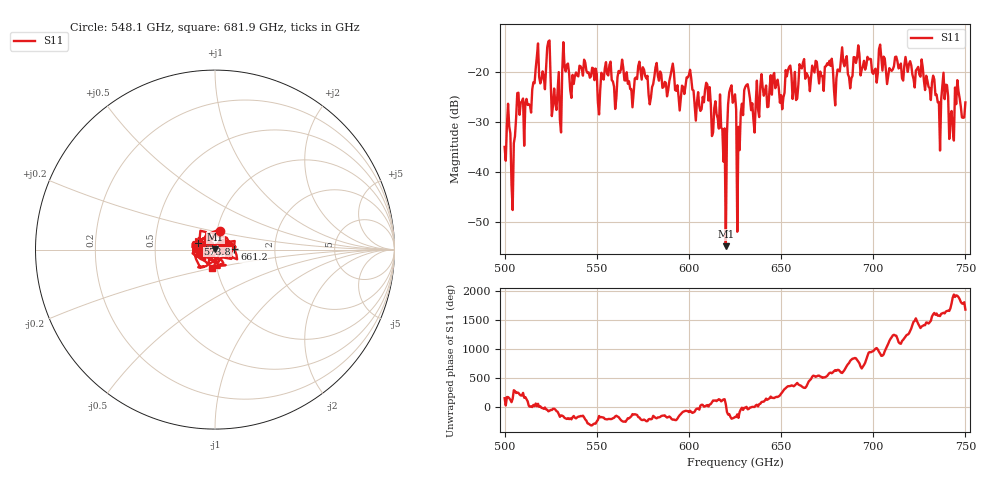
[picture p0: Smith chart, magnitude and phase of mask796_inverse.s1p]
!Created with skrf (http://scikit-rf.org).
# GHz S MA R 50.0
!freq magS11 angS11
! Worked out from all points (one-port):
!   401 points, 500 GHz to 750 GHz, reference 50 ohm
!   lowest |S11| = -54.9 dB at 620 GHz (marker M1), VSWR 1.00, Z = 50.1 + j0.153 ohm
!   |S11| at or under -10 dB: start of sweep to end of sweep
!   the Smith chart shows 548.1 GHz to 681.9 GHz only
!   S11 on the Smith chart (normalised r, x): 548.1 GHz: 1.03, +0.22; 573.8 GHz: 0.82, +0.06; 661.2 GHz: 1.24, +0.01; 681.9 GHz: 0.95, -0.19
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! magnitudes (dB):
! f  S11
! 500 GHz  -35.0
! 504.4 GHz  -47.7
! 507.5 GHz  -24.2
! 511.9 GHz  -25.4
! 516.9 GHz  -19.3
! 526.9 GHz  -23.3
! 531.2 GHz  -20.0
! 548.1 GHz  -19.3
! 562.5 GHz  -20.2
! 573.8 GHz  -19.8
! 593.8 GHz  -22.7
! 610 GHz  -22.5
! 620 GHz  -54.9
! 622.5 GHz  -23.3
! 625 GHz  -24.5
! 627.5 GHz  -35.7
! 631.2 GHz  -22.6
! 635 GHz  -29.6
! 656.2 GHz  -25.4
! 661.2 GHz  -19.3
! 681.9 GHz  -19.9
! 687.5 GHz  -23.3
! 718.8 GHz  -20.0
! 735.6 GHz  -26.0
! 738.8 GHz  -25.5
! 742.5 GHz  -27.8
! 745.6 GHz  -21.6
! 750 GHz  -26.1
